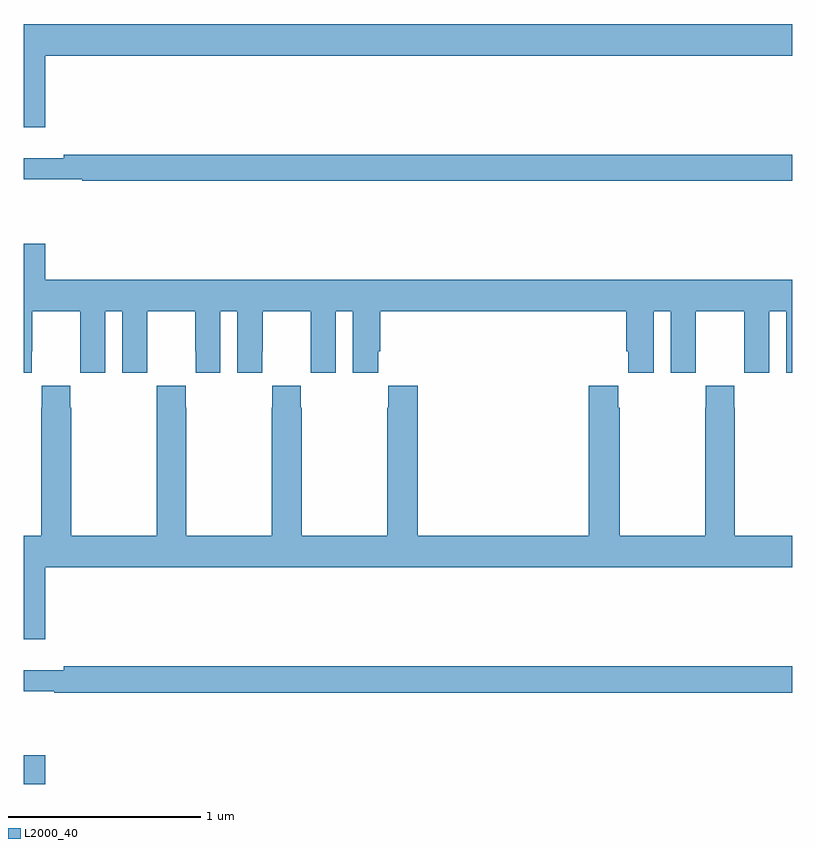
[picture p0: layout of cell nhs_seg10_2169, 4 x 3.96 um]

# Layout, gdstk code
import gdstk
lib = gdstk.Library(unit=1e-6, precision=1e-09)
def R(c, l, rs):  # rectangles x0, y0, x1, y1
    for r in rs: c.add(gdstk.rectangle(r[:2], r[2:], *l))
def P(c, l, *ps):  # polygons
    for p in ps: c.add(gdstk.Polygon(p, *l))
L2000_40 = (2000, 40)

nhs_seg10_2169 = lib.new_cell('nhs_seg10_2169')
R(nhs_seg10_2169, L2000_40, [(225,1320.5,225.112,1320.649)])
P(nhs_seg10_2169, L2000_40, [(225.112,1324.292),(229,1324.292),(229,1324.456),(225,1324.456),(225,1323.918),(225.112,1323.918)],
  [(229,1323.776),(225.208,1323.776),(225.208,1323.757),(225,1323.757),(225,1323.648),(225.304,1323.648),(225.304,1323.64),(229,1323.64)],
  [(225.042,1322.752),(225.043,1322.752),(225.043,1322.96),(225.293,1322.96),(225.293,1322.752),(225.294,1322.752),(225.294,1322.64),(225.424,1322.64),(225.424,1322.96),(225.512,1322.96),(225.512,1322.64),(225.642,1322.64),(225.642,1322.752),(225.643,1322.752),(225.643,1322.96),(225.893,1322.96),(225.893,1322.752),(225.894,1322.752),(225.894,1322.64),(226.024,1322.64),(226.024,1322.96),(226.112,1322.96),(226.112,1322.64),(226.242,1322.64),(226.242,1322.752),(226.243,1322.752),(226.243,1322.96),(226.493,1322.96),(226.493,1322.752),(226.494,1322.752),(226.494,1322.64),(226.624,1322.64),(226.624,1322.96),(226.712,1322.96),(226.712,1322.64),(226.846,1322.64),(226.846,1322.752),(226.856,1322.752),(226.856,1322.96),(228.137,1322.96),(228.137,1322.752),(228.146,1322.752),(228.146,1322.64),(228.28,1322.64),(228.28,1322.96),(228.368,1322.96),(228.368,1322.64),(228.498,1322.64),(228.498,1322.752),(228.499,1322.752),(228.499,1322.96),(228.749,1322.96),(228.749,1322.752),(228.75,1322.752),(228.75,1322.64),(228.88,1322.64),(228.88,1322.96),(228.968,1322.96),(228.968,1322.64),(229,1322.64),(229,1323.124),(225.112,1323.124),(225.112,1323.313),(225,1323.313),(225,1322.64),(225.042,1322.64)],
  [(225.112,1321.628),(229,1321.628),(229,1321.792),(228.702,1321.792),(228.702,1322.459),(228.699,1322.459),(228.699,1322.572),(228.549,1322.572),(228.549,1322.459),(228.547,1322.459),(228.547,1321.792),(228.102,1321.792),(228.102,1322.459),(228.095,1322.459),(228.095,1322.572),(227.942,1322.572),(227.942,1321.792),(227.051,1321.792),(227.051,1322.572),(226.897,1322.572),(226.897,1322.459),(226.891,1322.459),(226.891,1321.792),(226.446,1321.792),(226.446,1322.459),(226.443,1322.459),(226.443,1322.572),(226.293,1322.572),(226.293,1322.459),(226.291,1322.459),(226.291,1321.792),(225.846,1321.792),(225.846,1322.459),(225.843,1322.459),(225.843,1322.572),(225.693,1322.572),(225.693,1322.459),(225.691,1322.459),(225.691,1321.792),(225.246,1321.792),(225.246,1322.459),(225.243,1322.459),(225.243,1322.572),(225.093,1322.572),(225.093,1322.459),(225.091,1322.459),(225.091,1321.792),(225,1321.792),(225,1321.254),(225.112,1321.254)],
  [(229,1321.112),(225.208,1321.112),(225.208,1321.093),(225,1321.093),(225,1320.984),(225.158,1320.984),(225.158,1320.976),(229,1320.976)])

lib.write_gds('nhs_seg10_2169.gds')
